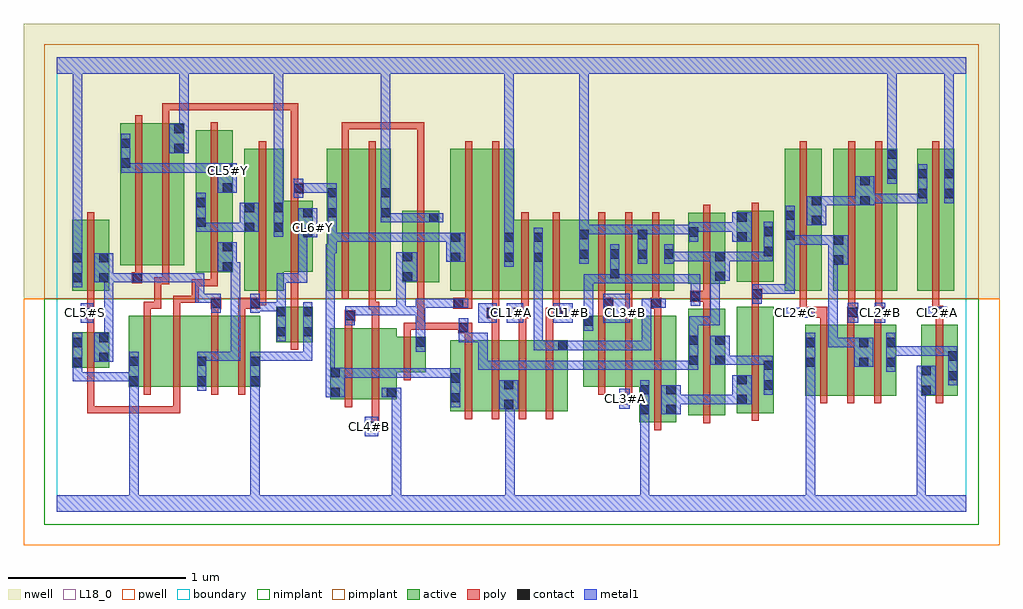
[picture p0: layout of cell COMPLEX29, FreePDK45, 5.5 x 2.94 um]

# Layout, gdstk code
import gdstk
lib = gdstk.Library(unit=1e-6, precision=1e-09)
def R(c, l, rs):  # rectangles x0, y0, x1, y1
    for r in rs: c.add(gdstk.rectangle(r[:2], r[2:], *l))
def A(c, l, x, y, w, h, nx, ny, dx, dy):  # array of equal rectangles
    R(c, l, [(x+i*dx, y+j*dy, x+i*dx+w, y+j*dy+h) for i in range(nx) for j in range(ny)])
active = (1, 0)
pwell = (2, 0)
nwell = (3, 0)
nimplant = (4, 0)
pimplant = (5, 0)
poly = (9, 0)
contact = (10, 0)
metal1 = (11, 0)
L18_0 = (18, 0)
boundary = (235, 0)

complex29 = lib.new_cell('COMPLEX29')
R(complex29, active, [(3.28,0.504,3.488,1.104), (3.428,0.504,3.488,1.104), (3.556,0.544,3.764,1.144), (3.28,0.546,3.34,0.948), (3.556,0.556,3.616,1.144), (3.704,0.556,3.764,1.144), (3.828,0.556,3.888,1.156), (3.828,0.556,4.036,1.156), (3.976,0.556,4.036,1.156), (2.214,0.566,2.394,0.966), (2.394,0.566,2.574,0.966), (2.514,0.566,2.698,0.966), (2.698,0.566,2.878,0.966), (2.514,0.574,2.574,0.856), (2.214,0.612,2.274,0.966), (1.538,0.634,1.598,1.034), (1.538,0.634,1.718,1.034), (1.718,0.634,1.914,1.034), (1.854,0.642,1.914,0.91), (4.214,0.654,4.394,1.054), (4.394,0.654,4.574,1.054), (4.514,0.654,4.726,1.054), (4.866,0.654,4.926,1.054), (4.866,0.654,5.074,1.054), (5.014,0.654,5.074,1.054), (0.404,0.704,0.584,1.104), (0.584,0.704,0.846,1.104), (0.786,0.704,0.966,1.104), (0.966,0.704,1.146,1.104), (2.964,0.704,3.144,1.104), (3.144,0.704,3.34,1.104), (0.404,0.706,0.464,1.104), (0.786,0.706,0.846,1.104), (1.086,0.706,1.146,1.104), (2.818,0.756,2.878,0.966), (2.964,0.756,3.024,1.104), (4.214,0.756,4.274,1.054), (4.514,0.756,4.574,1.05), (4.666,0.756,4.726,1.054), (1.854,0.786,2.078,0.986), (2.018,0.786,2.078,0.986), (0.086,0.812,0.146,1.012), (0.086,0.812,0.294,1.012), (0.234,0.812,0.294,1.012), (1.234,0.956,1.294,1.156), (1.234,0.956,1.442,1.156), (1.382,0.956,1.442,1.156), (0.086,1.244,0.146,1.644), (0.086,1.244,0.294,1.644), (0.234,1.244,0.294,1.644), (1.054,1.244,1.114,2.044), (1.054,1.244,1.278,2.044), (1.52,1.244,1.58,2.044), (1.52,1.244,1.7,2.044), (1.7,1.244,1.88,2.044), (2.216,1.244,2.276,2.044), (2.216,1.244,2.396,2.044), (2.396,1.244,2.576,2.044), (2.516,1.244,2.74,1.644), (2.68,1.244,2.998,1.644), (2.938,1.244,3.172,1.644), (3.112,1.244,3.328,1.644), (3.268,1.244,3.476,1.644), (3.416,1.244,3.476,1.644), (4.1,1.244,4.16,2.044), (4.1,1.244,4.308,2.044), (4.248,1.244,4.308,2.044), (4.372,1.244,4.432,2.044), (4.372,1.244,4.58,2.044), (4.52,1.244,4.58,2.044), (4.52,1.244,4.732,2.044), (4.672,1.244,4.732,2.044), (4.846,1.244,4.906,2.044), (4.846,1.244,5.054,2.044), (4.994,1.244,5.054,2.044), (3.112,1.27,3.172,1.644), (3.556,1.284,3.764,1.684), (3.556,1.284,3.616,1.674), (3.704,1.284,3.764,1.644), (1.944,1.294,2.152,1.694), (1.944,1.294,2.004,1.644), (2.092,1.294,2.152,1.694), (3.828,1.296,3.888,1.696), (3.828,1.296,4.036,1.696), (3.976,1.296,4.036,1.696), (0.782,1.35,0.99,2.15), (0.782,1.35,0.842,2.044), (0.93,1.35,0.99,2.15), (2.68,1.35,2.74,1.644), (2.938,1.35,2.998,1.644), (3.268,1.35,3.328,1.644), (1.218,1.352,1.442,1.752), (1.382,1.352,1.442,1.752), (0.358,1.388,0.418,2.188), (0.358,1.388,0.538,2.188), (0.538,1.388,0.718,2.188), (1.218,1.398,1.278,2.034), (2.516,1.404,2.576,1.694), (0.658,1.452,0.718,2.188), (1.82,1.452,1.88,2.044)])
R(complex29, pwell, [(-0.188,-0.188,5.308,1.2)])
R(complex29, nwell, [(-0.188,1.2,5.308,2.748)])
R(complex29, nimplant, [(-0.072,-0.072,5.192,1.2)])
R(complex29, pimplant, [(-0.072,1.2,5.192,2.632)])
A(complex29, poly, 2.298, 0.522, 0.04, 0.488, 4, 1, 0.152, 0)
A(complex29, poly, 4.298, 0.61, 0.04, 0.488, 3, 1, 0.152, 0)
A(complex29, poly, 2.45, 0.97, 0.04, 0.16, 3, 1, 0.152, 0)
A(complex29, poly, 4.298, 1.058, 0.04, 0.076, 3, 1, 0.152, 0)
A(complex29, poly, 3.048, 1.2, 0.04, 0.488, 3, 1, 0.152, 0)
A(complex29, poly, 0.76, 2.26, 0.146, 0.04, 3, 1, 0.106, 0)
R(complex29, poly, [(1.754,0.45,1.814,0.51), (3.364,0.46,3.404,1.148), (1.774,0.47,1.814,0.63), (3.64,0.5,3.68,1.188), (3.912,0.512,3.952,1.2), (0.17,0.554,0.21,0.594), (0.17,0.554,0.21,0.594), (0.17,0.554,0.21,0.594), (0.17,0.554,0.21,0.594), (0.17,0.554,0.21,0.594), (0.17,0.554,0.21,0.594), (0.17,0.554,0.21,0.594), (0.17,0.554,0.316,0.594), (0.17,0.554,0.21,0.808), (0.276,0.554,0.316,0.594), (0.276,0.554,0.316,0.594), (0.276,0.554,0.316,0.594), (0.276,0.554,0.694,0.594), (0.654,0.554,0.694,0.594), (0.654,0.554,0.694,0.594), (0.654,0.554,0.694,0.594), (0.654,0.554,0.694,0.7), (1.622,0.59,1.662,1.078), (1.774,0.59,1.814,1.078), (3.168,0.604,3.24,0.664), (4.95,0.61,4.99,1.098), (3.2,0.624,3.24,0.7), (0.488,0.66,0.528,1.148), (0.654,0.66,0.694,1.148), (0.87,0.66,0.91,1.148), (1.022,0.66,1.062,1.148), (3.048,0.66,3.088,1.148), (3.2,0.66,3.24,1.148), (1.954,0.742,1.994,1.03), (0.17,0.768,0.21,1.056), (1.318,0.912,1.358,1.2), (2.298,0.97,2.338,1.046), (1.954,0.99,1.994,1.066), (2.26,1.006,2.338,1.066), (0.17,1.016,0.21,1.13), (1.954,1.026,2.068,1.066), (2.028,1.026,2.068,1.066), (2.028,1.026,2.068,1.066), (2.028,1.026,2.068,1.066), (2.028,1.026,2.068,1.066), (2.028,1.026,2.3,1.066), (2.028,1.026,2.068,1.29), (2.26,1.026,2.3,1.066), (2.26,1.026,2.3,1.066), (1.622,1.038,1.662,1.114), (1.774,1.038,1.814,1.182), (4.95,1.058,4.99,1.14), (1.62,1.074,1.68,1.134), (0.15,1.09,0.21,1.15), (2.42,1.09,2.492,1.15), (2.45,1.09,2.49,1.13), (2.45,1.09,2.49,1.13), (2.57,1.09,2.656,1.15), (2.602,1.09,2.642,1.13), (2.602,1.09,2.642,1.13), (2.754,1.09,2.85,1.15), (4.184,1.094,4.338,1.154), (4.45,1.094,4.49,1.134), (4.45,1.094,4.49,1.134), (4.45,1.094,4.51,1.154), (4.602,1.094,4.662,1.154), (4.93,1.1,4.99,1.16), (0.488,1.108,0.528,1.184), (0.654,1.108,0.694,1.216), (0.87,1.108,0.91,1.184), (1.022,1.108,1.062,1.184), (3.048,1.108,3.088,1.184), (3.2,1.108,3.24,1.192), (3.364,1.108,3.404,1.184), (0.17,1.11,0.21,1.15), (0.17,1.11,0.21,1.15), (0.17,1.11,0.21,1.24), (2.452,1.11,2.492,1.24), (2.616,1.11,2.656,1.24), (2.792,1.11,2.832,1.15), (2.792,1.11,2.832,1.15), (2.792,1.11,2.832,1.24), (4.184,1.114,4.224,1.154), (4.184,1.114,4.224,1.154), (4.184,1.114,4.224,1.24), (4.456,1.114,4.496,1.24), (4.608,1.114,4.648,1.154), (4.608,1.114,4.648,1.154), (4.608,1.114,4.648,1.24), (4.93,1.12,4.97,1.24), (4.93,1.12,4.97,1.16), (4.93,1.12,4.97,1.16), (1.756,1.142,1.796,1.24), (1.756,1.142,1.798,1.182), (1.758,1.142,1.798,1.182), (1.758,1.142,1.814,1.182), (0.488,1.144,0.528,1.184), (0.488,1.144,0.588,1.184), (0.548,1.144,0.588,1.184), (0.548,1.144,0.588,1.322), (0.866,1.144,0.926,1.204), (1.022,1.144,1.146,1.204), (2.232,1.144,2.34,1.204), (3.048,1.144,3.134,1.204), (3.344,1.144,3.404,1.204), (3.64,1.148,3.68,1.224), (3.2,1.152,3.24,1.192), (3.2,1.152,3.24,1.192), (3.2,1.152,3.24,1.192), (3.2,1.152,3.24,1.24), (1.318,1.16,1.358,1.236), (3.912,1.16,3.952,1.236), (1.106,1.164,1.146,1.204), (1.106,1.164,1.178,1.204), (1.138,1.164,1.178,1.24), (2.3,1.164,2.34,1.24), (3.048,1.164,3.088,1.204), (3.048,1.164,3.088,1.204), (3.048,1.164,3.088,1.24), (3.352,1.164,3.392,1.204), (3.352,1.164,3.392,1.204), (3.352,1.164,3.392,1.24), (0.654,1.176,0.694,1.216), (0.654,1.176,0.8,1.216), (0.76,1.176,0.8,1.216), (0.76,1.176,0.8,1.216), (0.76,1.176,0.8,1.216), (0.76,1.176,0.8,1.31), (3.566,1.184,3.68,1.244), (3.64,1.184,3.68,1.224), (3.64,1.184,3.68,1.224), (1.318,1.196,1.358,1.236), (1.318,1.196,1.358,1.236), (1.318,1.196,1.358,1.236), (1.318,1.196,1.358,1.348), (3.912,1.196,3.952,1.236), (3.912,1.196,3.952,1.236), (3.912,1.196,3.972,1.256), (0.17,1.2,0.21,1.688), (1.138,1.2,1.178,2.088), (1.604,1.2,1.644,2.088), (1.756,1.2,1.796,2.088), (2.3,1.2,2.34,2.088), (2.452,1.2,2.492,2.088), (2.616,1.2,2.656,1.688), (2.792,1.2,2.832,1.688), (4.184,1.2,4.224,2.088), (4.456,1.2,4.496,2.088), (4.608,1.2,4.648,2.088), (4.93,1.2,4.97,2.088), (3.64,1.204,3.68,1.28), (3.912,1.216,3.952,1.292), (3.64,1.24,3.68,1.728), (2.028,1.25,2.068,1.738), (3.912,1.252,3.952,1.74), (0.76,1.27,0.8,1.31), (0.76,1.27,0.906,1.31), (0.866,1.27,0.906,1.31), (0.866,1.27,0.906,1.346), (0.548,1.282,0.588,1.322), (0.548,1.282,0.634,1.322), (0.594,1.282,0.634,1.322), (0.594,1.282,0.634,1.384), (0.422,1.288,0.482,1.348), (0.866,1.306,0.906,2.194), (0.442,1.308,0.482,1.384), (1.318,1.308,1.358,1.796), (0.442,1.344,0.482,2.232), (0.594,1.344,0.634,2.232), (2.028,1.698,2.068,2.194), (1.318,1.756,1.358,1.832), (1.318,1.792,1.39,1.852), (1.318,1.812,1.358,1.852), (1.318,1.812,1.358,1.852), (1.318,1.812,1.358,1.852), (1.318,1.812,1.358,1.852), (1.318,1.812,1.358,2.3), (1.604,2.048,1.644,2.194), (1.604,2.154,1.644,2.194), (1.604,2.154,1.644,2.194), (1.604,2.154,1.644,2.194), (1.604,2.154,1.786,2.194), (1.746,2.154,1.786,2.194), (1.746,2.154,1.786,2.194), (1.746,2.154,1.786,2.194), (1.746,2.154,1.962,2.194), (1.922,2.154,1.962,2.194), (1.922,2.154,1.962,2.194), (1.922,2.154,1.962,2.194), (1.922,2.154,1.962,2.194), (1.922,2.154,1.962,2.194), (1.922,2.154,1.962,2.194), (1.922,2.154,1.962,2.194), (1.922,2.154,1.962,2.194), (1.922,2.154,1.962,2.194), (1.922,2.154,2.068,2.194), (2.028,2.154,2.068,2.194), (0.594,2.192,0.634,2.3), (0.594,2.26,0.634,2.3), (0.594,2.26,0.8,2.3), (0.76,2.26,0.8,2.3), (0.76,2.26,0.8,2.3), (0.76,2.26,0.8,2.3), (0.866,2.26,0.906,2.3), (0.866,2.26,0.906,2.3), (0.866,2.26,0.906,2.3), (0.972,2.26,1.012,2.3), (0.972,2.26,1.012,2.3), (0.972,2.26,1.012,2.3), (1.078,2.26,1.118,2.3), (1.078,2.26,1.358,2.3), (1.318,2.26,1.358,2.3), (1.318,2.26,1.358,2.3), (1.318,2.26,1.358,2.3), (1.318,2.26,1.358,2.3), (1.318,2.26,1.358,2.3)])
R(complex29, contact, [(1.758,0.454,1.81,0.506), (3.284,0.55,3.336,0.602), (3.432,0.55,3.484,0.602), (2.518,0.578,2.57,0.63), (3.832,0.606,3.884,0.658), (3.172,0.608,3.224,0.66), (2.218,0.616,2.27,0.668), (1.542,0.646,1.594,0.698), (1.858,0.646,1.91,0.698), (4.87,0.658,4.922,0.71), (3.284,0.662,3.336,0.714), (3.432,0.662,3.484,0.714), (3.98,0.688,4.032,0.74), (2.518,0.69,2.57,0.742), (0.408,0.71,0.46,0.762), (0.79,0.71,0.842,0.762), (1.09,0.71,1.142,0.762), (3.832,0.718,3.884,0.77), (2.218,0.728,2.27,0.78), (5.018,0.74,5.07,0.792), (1.542,0.758,1.594,0.81), (4.87,0.77,4.922,0.822), (3.98,0.8,4.032,0.852), (0.09,0.816,0.142,0.868), (4.218,0.816,4.27,0.868), (4.518,0.816,4.57,0.868), (4.67,0.816,4.722,0.868), (0.408,0.822,0.46,0.874), (0.79,0.822,0.842,0.874), (1.09,0.822,1.142,0.874), (3.56,0.828,3.612,0.88), (3.708,0.828,3.76,0.88), (0.238,0.844,0.29,0.896), (5.018,0.852,5.07,0.904), (2.822,0.91,2.874,0.962), (0.09,0.928,0.142,0.98), (4.218,0.928,4.27,0.98), (4.518,0.928,4.57,0.98), (4.67,0.928,4.722,0.98), (2.022,0.93,2.074,0.982), (3.56,0.94,3.612,0.992), (3.708,0.94,3.76,0.992), (0.238,0.956,0.29,1.008), (1.238,0.988,1.29,1.04), (1.386,0.988,1.438,1.04), (2.264,1.01,2.316,1.062), (2.968,1.048,3.02,1.1), (1.624,1.078,1.676,1.13), (0.154,1.094,0.206,1.146), (2.424,1.094,2.476,1.146), (2.574,1.094,2.626,1.146), (2.794,1.094,2.846,1.146), (4.188,1.098,4.24,1.15), (4.454,1.098,4.506,1.15), (4.606,1.098,4.658,1.15), (1.238,1.1,1.29,1.152), (1.386,1.1,1.438,1.152), (4.934,1.104,4.986,1.156), (0.87,1.148,0.922,1.2), (1.09,1.148,1.142,1.2), (2.236,1.148,2.288,1.2), (3.078,1.148,3.13,1.2), (3.348,1.148,3.4,1.2), (3.57,1.188,3.622,1.24), (3.916,1.2,3.968,1.252), (0.09,1.292,0.142,1.344), (0.238,1.292,0.29,1.344), (0.426,1.292,0.478,1.344), (1.948,1.298,2,1.35), (3.708,1.3,3.76,1.352), (3.116,1.314,3.168,1.366), (0.934,1.354,0.986,1.406), (4.376,1.392,4.428,1.444), (0.09,1.404,0.142,1.456), (0.238,1.404,0.29,1.456), (2.22,1.408,2.272,1.46), (2.52,1.408,2.572,1.46), (2.684,1.408,2.736,1.46), (1.948,1.41,2,1.462), (3.708,1.412,3.76,1.464), (2.942,1.424,2.994,1.476), (3.272,1.424,3.324,1.476), (3.116,1.426,3.168,1.478), (3.42,1.426,3.472,1.478), (3.98,1.44,4.032,1.492), (0.934,1.466,0.986,1.518), (4.376,1.504,4.428,1.556), (2.22,1.52,2.272,1.572), (2.52,1.52,2.572,1.572), (2.684,1.52,2.736,1.572), (3.832,1.522,3.884,1.574), (4.104,1.532,4.156,1.584), (2.942,1.536,2.994,1.588), (3.272,1.536,3.324,1.588), (1.386,1.546,1.438,1.598), (3.56,1.55,3.612,1.602), (3.98,1.552,4.032,1.604), (1.058,1.576,1.11,1.628), (1.222,1.576,1.274,1.628), (0.786,1.604,0.838,1.656), (4.252,1.614,4.304,1.666), (2.096,1.63,2.148,1.682), (3.832,1.634,3.884,1.686), (4.104,1.644,4.156,1.696), (1.386,1.658,1.438,1.71), (1.524,1.658,1.576,1.71), (1.824,1.658,1.876,1.71), (1.058,1.688,1.11,1.74), (1.222,1.688,1.274,1.74), (0.786,1.716,0.838,1.768), (4.252,1.726,4.304,1.778), (4.524,1.726,4.576,1.778), (4.85,1.766,4.902,1.818), (4.998,1.766,5.05,1.818), (1.524,1.77,1.576,1.822), (1.824,1.77,1.876,1.822), (1.334,1.796,1.386,1.848), (0.934,1.798,0.986,1.85), (4.524,1.838,4.576,1.89), (4.676,1.876,4.728,1.928), (4.85,1.878,4.902,1.93), (4.998,1.878,5.05,1.93), (0.934,1.91,0.986,1.962), (0.362,1.938,0.414,1.99), (4.676,1.988,4.728,2.04), (0.662,2.02,0.714,2.072), (0.362,2.05,0.414,2.102), (0.662,2.132,0.714,2.184)])
A(complex29, metal1, 3.162, 1.286, 0.052, 0.052, 3, 1, 0.132, 0)
A(complex29, metal1, 2.942, 1.564, 0.052, 0.052, 3, 1, 0.11, 0)
A(complex29, metal1, 2.942, 1.564, 0.162, 0.052, 3, 1, 0.11, 0)
R(complex29, metal1, [(0,0,5.12,0.092), (0.408,0.04,0.46,0.092), (0.408,0.04,0.46,0.092), (0.408,0.04,0.46,0.092), (0.408,0.04,0.46,0.092), (0.408,0.04,0.46,0.092), (0.408,0.04,0.46,0.092), (0.408,0.04,0.46,0.092), (0.408,0.04,0.46,0.092), (0.408,0.04,0.46,0.092), (0.408,0.04,0.46,0.092), (0.408,0.04,0.46,0.734), (1.09,0.04,1.142,0.092), (1.09,0.04,1.142,0.092), (1.09,0.04,1.142,0.092), (1.09,0.04,1.142,0.092), (1.09,0.04,1.142,0.092), (1.09,0.04,1.142,0.092), (1.09,0.04,1.142,0.092), (1.09,0.04,1.142,0.092), (1.09,0.04,1.142,0.092), (1.09,0.04,1.142,0.092), (1.09,0.04,1.142,0.734), (1.886,0.04,1.938,0.092), (1.886,0.04,1.938,0.092), (1.886,0.04,1.938,0.698), (2.526,0.04,2.578,0.092), (2.526,0.04,2.578,0.092), (2.526,0.04,2.578,0.63), (3.284,0.04,3.336,0.092), (3.284,0.04,3.336,0.092), (3.284,0.04,3.336,0.092), (3.284,0.04,3.336,0.092), (3.284,0.04,3.336,0.092), (3.284,0.04,3.336,0.092), (3.284,0.04,3.336,0.092), (3.284,0.04,3.336,0.092), (3.284,0.04,3.336,0.574), (4.218,0.04,4.27,0.092), (4.218,0.04,4.27,0.092), (4.218,0.04,4.27,0.092), (4.218,0.04,4.27,0.092), (4.218,0.04,4.27,0.092), (4.218,0.04,4.27,0.092), (4.218,0.04,4.27,0.092), (4.218,0.04,4.27,0.092), (4.218,0.04,4.27,0.092), (4.218,0.04,4.27,0.092), (4.218,0.04,4.27,0.84), (4.842,0.04,4.894,0.092), (4.842,0.04,4.894,0.092), (4.842,0.04,4.894,0.092), (4.842,0.04,4.894,0.092), (4.842,0.04,4.894,0.092), (4.842,0.04,4.894,0.092), (4.842,0.04,4.894,0.092), (4.842,0.04,4.894,0.092), (4.842,0.04,4.894,0.092), (4.842,0.04,4.894,0.092), (4.842,0.04,4.894,0.092), (4.842,0.04,4.894,0.092), (4.842,0.04,4.894,0.71), (1.734,0.426,1.81,0.534), (3.284,0.522,3.336,0.742), (3.404,0.55,3.512,0.714), (2.49,0.578,2.598,0.742), (2.526,0.578,2.578,0.63), (2.526,0.578,2.578,0.63), (2.526,0.578,2.578,0.63), (2.526,0.578,2.578,0.63), (2.526,0.578,2.578,0.63), (2.526,0.578,2.578,0.63), (2.526,0.578,2.578,0.63), (2.526,0.578,2.578,0.63), (2.526,0.578,2.578,0.63), (2.526,0.578,2.578,0.63), (3.166,0.58,3.226,0.694), (2.218,0.588,2.27,0.808), (3.46,0.606,3.622,0.658), (3.57,0.606,3.622,0.658), (3.57,0.606,3.622,0.658), (3.57,0.606,3.622,0.658), (3.57,0.606,3.856,0.658), (3.804,0.606,3.856,0.658), (3.804,0.606,3.856,0.658), (3.804,0.606,3.912,0.77), (1.514,0.646,1.622,0.81), (1.83,0.646,1.938,0.698), (1.886,0.646,1.938,0.698), (1.886,0.646,1.938,0.698), (1.886,0.646,1.938,0.698), (1.886,0.646,1.938,0.698), (1.886,0.646,1.938,0.698), (1.886,0.646,1.938,0.698), (1.886,0.646,1.938,0.698), (1.886,0.646,1.938,0.698), (1.886,0.646,1.938,0.698), (1.886,0.646,1.938,0.698), (4.842,0.658,4.95,0.822), (3.98,0.66,4.032,0.88), (0.408,0.682,0.46,0.734), (0.408,0.682,0.46,0.734), (0.408,0.682,0.46,0.902), (0.79,0.682,0.842,0.902), (1.09,0.682,1.142,0.734), (1.09,0.682,1.142,0.734), (1.09,0.682,1.142,0.902), (5.018,0.712,5.07,0.932), (0.09,0.734,0.142,0.786), (0.09,0.734,0.142,0.786), (0.09,0.734,0.142,0.786), (0.09,0.734,0.142,0.786), (0.09,0.734,0.142,0.786), (0.09,0.734,0.278,0.786), (0.09,0.734,0.142,0.84), (0.226,0.734,0.278,0.786), (0.226,0.734,0.46,0.786), (1.57,0.756,1.622,0.808), (1.57,0.756,1.622,0.808), (1.57,0.756,1.732,0.808), (1.68,0.756,1.732,0.808), (1.68,0.756,1.732,0.808), (1.68,0.756,1.732,0.808), (1.68,0.756,1.842,0.808), (1.79,0.756,1.842,0.808), (1.79,0.756,1.842,0.808), (1.79,0.756,1.842,0.808), (1.79,0.756,1.964,0.808), (1.912,0.756,1.964,0.808), (1.912,0.756,2.074,0.808), (2.022,0.756,2.074,0.808), (2.022,0.756,2.074,0.808), (2.022,0.756,2.074,0.808), (2.022,0.756,2.27,0.808), (1.514,0.758,1.566,1.508), (0.09,0.788,0.142,1.008), (4.218,0.788,4.27,0.84), (4.218,0.788,4.27,0.84), (4.218,0.788,4.27,1.008), (4.67,0.788,4.722,1.008), (2.374,0.8,2.426,0.852), (2.374,0.8,2.426,0.852), (2.374,0.8,2.426,0.852), (2.374,0.8,2.426,0.852), (2.374,0.8,2.426,0.852), (2.374,0.8,2.546,0.852), (2.374,0.8,2.426,1.008), (2.494,0.8,2.546,0.852), (2.494,0.8,2.546,0.852), (2.494,0.8,2.546,0.852), (2.494,0.8,2.546,0.852), (2.494,0.8,2.546,0.852), (2.494,0.8,2.726,0.852), (2.674,0.8,2.726,0.852), (2.674,0.8,2.792,0.852), (2.74,0.8,2.792,0.852), (2.74,0.8,2.994,0.852), (2.942,0.8,2.994,0.852), (2.942,0.8,2.994,0.852), (2.942,0.8,2.994,0.852), (2.942,0.8,3.104,0.852), (3.052,0.8,3.104,0.852), (3.052,0.8,3.13,0.852), (3.078,0.8,3.13,0.852), (3.078,0.8,3.256,0.852), (3.204,0.8,3.256,0.852), (3.204,0.8,3.324,0.852), (3.272,0.8,3.324,0.852), (3.272,0.8,3.456,0.852), (3.404,0.8,3.456,0.852), (3.404,0.8,3.456,0.852), (3.404,0.8,3.456,0.852), (3.404,0.8,3.612,0.852), (3.56,0.8,3.612,1.02), (4.49,0.816,4.598,0.98), (3.68,0.828,3.788,0.992), (3.736,0.828,3.858,0.88), (3.806,0.828,3.858,0.88), (3.806,0.828,4.032,0.88), (3.98,0.828,4.032,0.88), (3.98,0.828,4.032,0.88), (0.21,0.844,0.318,1.008), (0.79,0.85,0.842,0.902), (0.79,0.85,0.842,0.902), (0.79,0.85,1.032,0.902), (0.98,0.85,1.032,0.902), (0.98,0.85,1.032,1.406), (1.09,0.85,1.274,0.902), (1.222,0.85,1.274,0.902), (1.222,0.85,1.274,0.902), (1.222,0.85,1.274,0.902), (1.222,0.85,1.438,0.902), (1.386,0.85,1.438,0.902), (1.386,0.85,1.438,1.012), (4.67,0.88,4.824,0.932), (4.772,0.88,4.824,0.932), (4.772,0.88,5.07,0.932), (5.018,0.88,5.07,0.932), (5.018,0.88,5.07,0.932), (2.022,0.902,2.074,1.01), (2.684,0.91,2.736,0.962), (2.684,0.91,2.736,0.962), (2.684,0.91,2.736,0.962), (2.684,0.91,2.846,0.962), (2.684,0.91,2.736,1.432), (2.794,0.91,2.902,0.962), (2.85,0.91,2.902,0.962), (2.85,0.91,2.902,0.962), (2.85,0.91,2.902,0.962), (2.85,0.91,2.902,0.962), (2.85,0.91,3.104,0.962), (3.052,0.91,3.104,0.962), (3.052,0.91,3.13,0.962), (3.078,0.91,3.13,0.962), (3.078,0.91,3.262,0.962), (3.21,0.91,3.262,0.962), (3.21,0.91,3.346,0.962), (3.294,0.91,3.346,0.962), (3.294,0.91,3.346,0.962), (3.294,0.91,3.346,0.962), (3.294,0.91,3.346,1.2), (4.344,0.928,4.396,0.98), (4.344,0.928,4.542,0.98), (4.344,0.928,4.396,1.444), (4.49,0.928,4.542,0.98), (4.49,0.928,4.542,0.98), (0.266,0.956,0.318,1.008), (0.266,0.956,0.318,1.008), (0.266,0.956,0.318,1.344), (2.264,0.956,2.426,1.008), (2.264,0.956,2.316,1.09), (2.374,0.956,2.426,1.008), (2.022,0.958,2.074,1.158), (1.238,0.96,1.29,1.18), (1.386,0.96,1.438,1.012), (1.386,0.96,1.438,1.012), (1.386,0.96,1.438,1.18), (3.56,0.968,3.612,1.02), (3.56,0.968,3.612,1.02), (3.56,0.968,3.612,1.102), (2.968,1.02,3.02,1.128), (1.624,1.05,1.676,1.158), (3.56,1.05,3.612,1.102), (3.56,1.05,3.646,1.102), (3.594,1.05,3.646,1.102), (3.594,1.05,3.732,1.102), (3.68,1.05,3.732,1.102), (3.68,1.05,3.732,1.102), (3.68,1.05,3.732,1.102), (3.68,1.05,3.732,1.102), (3.68,1.05,3.732,1.102), (3.68,1.05,3.732,1.352), (0.134,1.066,0.206,1.174), (2.374,1.066,2.476,1.174), (2.534,1.066,2.626,1.174), (2.794,1.066,2.906,1.174), (3.078,1.066,3.226,1.228), (4.454,1.066,4.514,1.178), (4.606,1.066,4.666,1.178), (2.968,1.076,3.02,1.128), (2.968,1.076,3.02,1.128), (2.968,1.076,3.02,1.128), (2.968,1.076,3.02,1.128), (2.968,1.076,3.02,1.338), (4.106,1.094,4.268,1.15), (4.906,1.094,5.014,1.156), (1.624,1.106,1.732,1.158), (1.68,1.106,1.732,1.158), (1.68,1.106,1.732,1.158), (1.68,1.106,1.732,1.158), (1.68,1.106,1.842,1.158), (1.79,1.106,1.842,1.158), (1.79,1.106,1.842,1.158), (1.79,1.106,1.842,1.158), (1.79,1.106,1.964,1.158), (1.912,1.106,1.964,1.158), (1.912,1.106,1.964,1.158), (1.912,1.106,1.964,1.158), (1.912,1.106,2.074,1.158), (1.912,1.106,1.964,1.35), (2.022,1.106,2.074,1.158), (2.022,1.106,2.074,1.158), (2.022,1.106,2.074,1.158), (2.022,1.106,2.074,1.2), (0.87,1.12,0.922,1.228), (1.09,1.12,1.142,1.228), (1.09,1.128,1.142,1.18), (1.09,1.128,1.142,1.18), (1.09,1.128,1.29,1.18), (1.238,1.128,1.29,1.18), (1.238,1.128,1.29,1.18), (1.238,1.128,1.29,1.342), (2.022,1.148,2.074,1.2), (2.022,1.148,2.26,1.2), (2.208,1.148,2.26,1.2), (2.208,1.148,2.26,1.2), (2.208,1.148,2.316,1.2), (3.294,1.148,3.346,1.2), (3.294,1.148,3.372,1.2), (3.32,1.148,3.428,1.2), (3.57,1.16,3.622,1.268), (3.916,1.172,3.968,1.28), (0.778,1.176,0.83,1.228), (0.778,1.176,0.922,1.228), (0.778,1.176,0.83,1.344), (3.57,1.216,3.622,1.268), (3.57,1.216,3.622,1.268), (3.57,1.216,3.622,1.338), (3.916,1.228,3.968,1.28), (3.916,1.228,3.968,1.28), (3.916,1.228,4.156,1.28), (4.104,1.228,4.156,1.28), (4.104,1.228,4.156,1.556), (0.09,1.264,0.142,1.484), (2.968,1.286,3.02,1.338), (2.968,1.286,3.104,1.338), (3.052,1.286,3.104,1.338), (3.052,1.286,3.168,1.338), (3.116,1.286,3.168,1.506), (3.116,1.286,3.214,1.338), (3.162,1.286,3.346,1.338), (3.294,1.286,3.478,1.338), (3.426,1.286,3.478,1.338), (3.426,1.286,3.478,1.338), (3.426,1.286,3.622,1.338), (3.57,1.286,3.622,1.338), (1.238,1.29,1.29,1.342), (1.238,1.29,1.29,1.342), (1.238,1.29,1.29,1.342), (1.238,1.29,1.29,1.342), (1.238,1.29,1.29,1.342), (1.238,1.29,1.41,1.342), (1.358,1.29,1.41,1.342), (1.358,1.29,1.41,1.342), (1.358,1.29,1.41,1.342), (1.358,1.29,1.41,1.598), (0.21,1.292,0.318,1.456), (0.266,1.292,0.318,1.344), (0.266,1.292,0.318,1.344), (0.266,1.292,0.318,1.344), (0.266,1.292,0.318,1.344), (0.266,1.292,0.45,1.344), (0.398,1.292,0.506,1.344), (0.454,1.292,0.576,1.344), (0.524,1.292,0.576,1.344), (0.524,1.292,0.72,1.344), (0.668,1.292,0.72,1.344), (0.668,1.292,0.72,1.344), (0.668,1.292,0.72,1.344), (0.668,1.292,0.83,1.344), (0.778,1.292,0.83,1.344), (1.912,1.298,2.028,1.462), (3.68,1.3,3.788,1.464), (0.906,1.354,1.014,1.518), (0.962,1.354,1.014,1.406), (0.962,1.354,1.032,1.406), (0.98,1.354,1.032,1.406), (0.98,1.354,1.032,1.406), (2.52,1.38,2.572,1.6), (2.684,1.38,2.736,1.432), (2.684,1.38,2.736,1.432), (2.684,1.38,2.736,1.432), (2.684,1.38,2.736,1.432), (2.684,1.38,2.736,1.6), (4.344,1.392,4.396,1.444), (4.344,1.392,4.396,1.444), (4.344,1.392,4.396,1.444), (4.344,1.392,4.396,1.444), (4.344,1.392,4.456,1.556), (2.942,1.396,2.994,1.616), (3.272,1.396,3.324,1.616), (3.42,1.398,3.472,1.506), (2.192,1.408,2.3,1.572), (3.42,1.412,3.622,1.464), (3.57,1.412,3.622,1.464), (3.57,1.412,3.732,1.464), (3.68,1.412,3.732,1.464), (3.68,1.412,3.732,1.464), (3.68,1.412,3.732,1.464), (3.68,1.412,3.732,1.464), (3.736,1.412,3.856,1.464), (3.804,1.412,3.856,1.464), (3.804,1.412,4.032,1.464), (3.98,1.412,4.032,1.464), (3.98,1.412,4.032,1.464), (3.98,1.412,4.032,1.632), (0.09,1.432,0.142,1.484), (0.09,1.432,0.142,1.484), (0.09,1.432,0.142,1.484), (0.09,1.432,0.142,1.484), (0.09,1.432,0.142,2.52), (1.514,1.456,1.566,1.508), (1.514,1.456,1.566,1.508), (1.514,1.456,1.566,1.508), (1.514,1.456,1.566,1.508), (1.514,1.456,1.576,1.508), (1.524,1.456,1.576,1.572), (4.104,1.504,4.156,1.556), (4.104,1.504,4.156,1.556), (4.104,1.504,4.156,1.724), (4.104,1.504,4.396,1.556), (4.344,1.504,4.396,1.556), (4.344,1.504,4.396,1.556), (1.524,1.52,1.576,1.572), (1.524,1.52,1.576,1.572), (1.524,1.52,1.576,1.572), (1.524,1.52,1.576,1.572), (1.524,1.52,1.576,1.572), (1.524,1.52,1.576,1.572), (1.524,1.52,1.576,1.572), (1.524,1.52,1.732,1.572), (1.524,1.52,1.576,1.682), (1.68,1.52,1.732,1.572), (1.68,1.52,1.786,1.572), (1.734,1.52,1.786,1.572), (1.734,1.52,1.96,1.572), (1.908,1.52,1.96,1.572), (1.908,1.52,1.96,1.572), (1.908,1.52,1.96,1.572), (1.908,1.52,2.108,1.572), (2.056,1.52,2.108,1.572), (2.056,1.52,2.108,1.572), (2.056,1.52,2.108,1.572), (2.056,1.52,2.244,1.572), (3.56,1.522,3.612,1.63), (3.804,1.522,3.912,1.686), (1.358,1.546,1.466,1.71), (1.222,1.548,1.274,1.768), (2.52,1.548,2.572,1.6), (2.52,1.548,2.572,1.6), (2.52,1.548,2.572,1.6), (2.52,1.548,2.572,1.6), (2.52,1.548,2.572,1.6), (2.52,1.548,2.572,1.6), (2.52,1.548,2.572,2.52), (2.942,1.564,2.994,1.616), (2.942,1.564,2.994,1.616), (2.942,1.564,2.994,1.616), (2.942,1.564,2.994,1.616), (2.942,1.564,2.994,1.616), (2.942,1.564,2.994,1.616), (2.942,1.564,2.994,1.616), (2.942,1.564,2.994,1.616), (2.942,1.564,2.994,1.616), (2.942,1.564,2.994,1.616), (2.942,1.564,2.994,1.616), (2.942,1.564,2.994,1.616), (2.942,1.564,2.994,1.616), (2.942,1.564,2.994,1.616), (2.942,1.564,2.994,1.616), (2.942,1.564,2.994,2.52), (3.162,1.564,3.214,1.616), (3.162,1.564,3.214,1.616), (3.272,1.564,3.456,1.616), (3.404,1.564,3.456,1.616), (3.404,1.564,3.456,1.616), (3.404,1.564,3.456,1.616), (3.404,1.564,3.612,1.616), (0.786,1.576,0.838,1.796), (0.786,1.576,0.952,1.628), (0.9,1.576,0.952,1.628), (0.9,1.576,0.952,1.628), (0.9,1.576,0.952,1.628), (0.9,1.576,1.082,1.628), (1.03,1.576,1.138,1.74), (3.56,1.578,3.746,1.63), (3.694,1.578,3.746,1.63), (3.694,1.578,3.856,1.63), (3.804,1.578,3.856,1.63), (3.804,1.578,3.856,1.63), (4.224,1.614,4.332,1.778), (1.524,1.63,1.576,1.85), (1.824,1.63,1.876,1.85), (1.824,1.63,1.952,1.682), (1.9,1.63,1.952,1.682), (1.9,1.63,1.952,1.682), (1.9,1.63,1.952,1.682), (1.9,1.63,1.952,1.682), (1.9,1.63,1.952,1.682), (1.9,1.63,1.952,1.682), (1.9,1.63,1.952,1.682), (1.9,1.63,1.952,1.682), (1.9,1.63,1.952,1.682), (1.9,1.63,2.12,1.682), (2.068,1.63,2.12,1.682), (2.068,1.63,2.12,1.682), (2.068,1.63,2.176,1.682), (1.222,1.716,1.274,2.52), (4.28,1.726,4.332,1.778), (4.28,1.726,4.332,1.778), (4.28,1.726,4.548,1.778), (4.496,1.726,4.548,1.778), (4.496,1.726,4.548,1.778), (4.496,1.726,4.604,1.89), (4.552,1.738,4.714,1.79), (4.662,1.738,4.714,1.79), (4.662,1.738,4.714,1.79), (4.662,1.738,4.714,1.79), (4.662,1.738,4.902,1.79), (4.85,1.738,4.902,1.958), (4.998,1.738,5.05,1.958), (1.334,1.768,1.386,1.876), (0.906,1.798,1.014,1.962), (1.334,1.798,1.4,1.85), (1.348,1.798,1.4,1.85), (1.348,1.798,1.576,1.85), (1.824,1.798,1.876,2.52), (4.676,1.848,4.728,2.068), (4.998,1.906,5.05,2.52), (4.998,1.906,5.05,1.958), (4.998,1.906,5.05,1.958), (4.998,1.906,5.05,1.958), (4.998,1.906,5.05,1.958), (4.998,1.906,5.05,1.958), (4.998,1.906,5.05,1.958), (0.362,1.91,0.414,2.13), (0.362,1.91,0.576,1.962), (0.524,1.91,0.576,1.962), (0.524,1.91,0.576,1.962), (0.524,1.91,0.576,1.962), (0.524,1.91,0.686,1.962), (0.634,1.91,0.686,1.962), (0.634,1.91,0.686,1.962), (0.634,1.91,0.686,1.962), (0.634,1.91,0.842,1.962), (0.79,1.91,0.842,1.962), (0.79,1.91,0.958,1.962), (0.906,1.91,0.958,1.962), (0.906,1.91,0.958,1.962), (4.676,2.016,4.728,2.068), (4.676,2.016,4.728,2.068), (4.676,2.016,4.728,2.52), (0.634,2.02,0.742,2.184), (0.69,2.132,0.742,2.184), (0.69,2.132,0.742,2.184), (0.69,2.132,0.742,2.52), (0,2.468,5.12,2.56), (0.09,2.468,0.142,2.52), (0.09,2.468,0.142,2.52), (0.09,2.468,0.142,2.52), (0.09,2.468,0.142,2.52), (0.09,2.468,0.142,2.52), (0.09,2.468,0.142,2.52), (0.09,2.468,0.142,2.52), (0.09,2.468,0.142,2.52), (0.09,2.468,0.142,2.52), (0.09,2.468,0.142,2.52), (0.09,2.468,0.142,2.52), (0.09,2.468,0.142,2.52), (0.69,2.468,0.742,2.52), (0.69,2.468,0.742,2.52), (0.69,2.468,0.742,2.52), (0.69,2.468,0.742,2.52), (0.69,2.468,0.742,2.52), (0.69,2.468,0.742,2.52), (1.222,2.468,1.274,2.52), (1.222,2.468,1.274,2.52), (1.222,2.468,1.274,2.52), (1.222,2.468,1.274,2.52), (1.222,2.468,1.274,2.52), (1.222,2.468,1.274,2.52), (1.222,2.468,1.274,2.52), (1.222,2.468,1.274,2.52), (1.824,2.468,1.876,2.52), (1.824,2.468,1.876,2.52), (1.824,2.468,1.876,2.52), (1.824,2.468,1.876,2.52), (1.824,2.468,1.876,2.52), (1.824,2.468,1.876,2.52), (1.824,2.468,1.876,2.52), (1.824,2.468,1.876,2.52), (2.52,2.468,2.572,2.52), (2.52,2.468,2.572,2.52), (2.942,2.468,2.994,2.52), (2.942,2.468,2.994,2.52), (4.676,2.468,4.728,2.52), (4.676,2.468,4.728,2.52), (4.676,2.468,4.728,2.52), (4.676,2.468,4.728,2.52), (4.676,2.468,4.728,2.52), (4.676,2.468,4.728,2.52), (4.998,2.468,5.05,2.52), (4.998,2.468,5.05,2.52)])
A(complex29, L18_0, 2.534, 1.094, 0.052, 0.052, 3, 1, 0.32, 0)
A(complex29, L18_0, 2.942, 1.564, 0.052, 0.052, 3, 1, 0.11, 0)
A(complex29, L18_0, 2.942, 1.564, 0.162, 0.052, 3, 1, 0.11, 0)
R(complex29, L18_0, [(0,0,5.12,0.092), (0.408,0.04,0.46,0.092), (0.408,0.04,0.46,0.092), (0.408,0.04,0.46,0.092), (0.408,0.04,0.46,0.092), (0.408,0.04,0.46,0.092), (0.408,0.04,0.46,0.092), (0.408,0.04,0.46,0.092), (0.408,0.04,0.46,0.092), (0.408,0.04,0.46,0.092), (0.408,0.04,0.46,0.092), (0.408,0.04,0.46,0.734), (1.09,0.04,1.142,0.092), (1.09,0.04,1.142,0.092), (1.09,0.04,1.142,0.092), (1.09,0.04,1.142,0.092), (1.09,0.04,1.142,0.092), (1.09,0.04,1.142,0.092), (1.09,0.04,1.142,0.092), (1.09,0.04,1.142,0.092), (1.09,0.04,1.142,0.092), (1.09,0.04,1.142,0.092), (1.09,0.04,1.142,0.734), (1.886,0.04,1.938,0.092), (1.886,0.04,1.938,0.092), (1.886,0.04,1.938,0.698), (2.526,0.04,2.578,0.092), (2.526,0.04,2.578,0.092), (2.526,0.04,2.578,0.63), (3.284,0.04,3.336,0.092), (3.284,0.04,3.336,0.092), (3.284,0.04,3.336,0.092), (3.284,0.04,3.336,0.092), (3.284,0.04,3.336,0.092), (3.284,0.04,3.336,0.092), (3.284,0.04,3.336,0.092), (3.284,0.04,3.336,0.092), (3.284,0.04,3.336,0.574), (4.218,0.04,4.27,0.092), (4.218,0.04,4.27,0.092), (4.218,0.04,4.27,0.092), (4.218,0.04,4.27,0.092), (4.218,0.04,4.27,0.092), (4.218,0.04,4.27,0.092), (4.218,0.04,4.27,0.092), (4.218,0.04,4.27,0.092), (4.218,0.04,4.27,0.092), (4.218,0.04,4.27,0.092), (4.218,0.04,4.27,0.84), (4.842,0.04,4.894,0.092), (4.842,0.04,4.894,0.092), (4.842,0.04,4.894,0.092), (4.842,0.04,4.894,0.092), (4.842,0.04,4.894,0.092), (4.842,0.04,4.894,0.092), (4.842,0.04,4.894,0.092), (4.842,0.04,4.894,0.092), (4.842,0.04,4.894,0.092), (4.842,0.04,4.894,0.092), (4.842,0.04,4.894,0.092), (4.842,0.04,4.894,0.092), (4.842,0.04,4.894,0.71), (1.734,0.426,1.81,0.534), (1.734,0.454,1.786,0.506), (3.284,0.522,3.336,0.742), (2.49,0.578,2.598,0.742), (2.526,0.578,2.578,0.63), (2.526,0.578,2.578,0.63), (2.526,0.578,2.578,0.63), (2.526,0.578,2.578,0.63), (2.526,0.578,2.578,0.63), (2.526,0.578,2.578,0.63), (2.526,0.578,2.578,0.63), (2.526,0.578,2.578,0.63), (2.526,0.578,2.578,0.63), (2.526,0.578,2.578,0.63), (3.166,0.58,3.226,0.694), (3.174,0.614,3.226,0.666), (1.83,0.646,1.938,0.698), (1.886,0.646,1.938,0.698), (1.886,0.646,1.938,0.698), (1.886,0.646,1.938,0.698), (1.886,0.646,1.938,0.698), (1.886,0.646,1.938,0.698), (1.886,0.646,1.938,0.698), (1.886,0.646,1.938,0.698), (1.886,0.646,1.938,0.698), (1.886,0.646,1.938,0.698), (1.886,0.646,1.938,0.698), (4.842,0.658,4.95,0.822), (0.408,0.682,0.46,0.734), (0.408,0.682,0.46,0.734), (0.408,0.682,0.46,0.902), (0.79,0.682,0.842,0.902), (1.09,0.682,1.142,0.734), (1.09,0.682,1.142,0.734), (1.09,0.682,1.142,0.902), (0.09,0.734,0.142,0.786), (0.09,0.734,0.142,0.786), (0.09,0.734,0.142,0.786), (0.09,0.734,0.142,0.786), (0.09,0.734,0.142,0.786), (0.09,0.734,0.142,0.84), (0.09,0.734,0.278,0.786), (0.226,0.734,0.278,0.786), (0.226,0.734,0.46,0.786), (0.09,0.788,0.142,1.008), (4.218,0.788,4.27,0.84), (4.218,0.788,4.27,0.84), (4.218,0.788,4.27,1.008), (0.79,0.85,0.842,0.902), (0.79,0.85,0.842,0.902), (0.79,0.85,1.032,0.902), (0.98,0.85,1.032,0.902), (0.98,0.85,1.032,1.406), (1.09,0.85,1.274,0.902), (1.222,0.85,1.274,0.902), (1.222,0.85,1.274,0.902), (1.222,0.85,1.274,0.902), (1.222,0.85,1.438,0.902), (1.386,0.85,1.438,0.902), (1.386,0.85,1.438,1.012), (1.238,0.96,1.29,1.18), (1.386,0.96,1.438,1.012), (1.386,0.96,1.438,1.012), (1.386,0.96,1.438,1.18), (0.134,1.066,0.206,1.174), (2.374,1.066,2.476,1.174), (2.534,1.066,2.626,1.174), (2.794,1.066,2.906,1.174), (3.078,1.066,3.226,1.228), (4.454,1.066,4.514,1.178), (4.606,1.066,4.666,1.178), (0.134,1.094,0.186,1.146), (2.374,1.094,2.426,1.146), (4.106,1.094,4.268,1.15), (4.134,1.094,4.186,1.146), (4.454,1.094,4.506,1.146), (4.614,1.094,4.666,1.146), (4.906,1.094,5.014,1.156), (4.934,1.094,4.986,1.146), (1.09,1.12,1.142,1.228), (1.09,1.128,1.142,1.18), (1.09,1.128,1.142,1.18), (1.09,1.128,1.29,1.18), (1.238,1.128,1.29,1.18), (1.238,1.128,1.29,1.18), (1.238,1.128,1.29,1.342), (0.09,1.264,0.142,1.484), (1.238,1.29,1.29,1.342), (1.238,1.29,1.29,1.342), (1.238,1.29,1.29,1.342), (1.238,1.29,1.29,1.342), (1.238,1.29,1.29,1.342), (1.238,1.29,1.41,1.342), (1.358,1.29,1.41,1.342), (1.358,1.29,1.41,1.342), (1.358,1.29,1.41,1.342), (1.358,1.29,1.41,1.598), (0.906,1.354,1.014,1.518), (0.962,1.354,1.014,1.406), (0.962,1.354,1.032,1.406), (0.98,1.354,1.032,1.406), (0.98,1.354,1.032,1.406), (2.52,1.38,2.572,1.6), (2.942,1.396,2.994,1.616), (3.272,1.396,3.324,1.616), (0.09,1.432,0.142,1.484), (0.09,1.432,0.142,1.484), (0.09,1.432,0.142,1.484), (0.09,1.432,0.142,1.484), (0.09,1.432,0.142,2.52), (3.56,1.522,3.612,1.63), (3.804,1.522,3.912,1.686), (1.358,1.546,1.466,1.71), (1.222,1.548,1.274,1.768), (2.52,1.548,2.572,1.6), (2.52,1.548,2.572,1.6), (2.52,1.548,2.572,1.6), (2.52,1.548,2.572,1.6), (2.52,1.548,2.572,1.6), (2.52,1.548,2.572,1.6), (2.52,1.548,2.572,2.52), (2.942,1.564,2.994,1.616), (2.942,1.564,2.994,1.616), (2.942,1.564,2.994,1.616), (2.942,1.564,2.994,1.616), (2.942,1.564,2.994,1.616), (2.942,1.564,2.994,1.616), (2.942,1.564,2.994,1.616), (2.942,1.564,2.994,1.616), (2.942,1.564,2.994,1.616), (2.942,1.564,2.994,1.616), (2.942,1.564,2.994,1.616), (2.942,1.564,2.994,1.616), (2.942,1.564,2.994,1.616), (2.942,1.564,2.994,1.616), (2.942,1.564,2.994,1.616), (2.942,1.564,2.994,2.52), (3.162,1.564,3.214,1.616), (3.162,1.564,3.214,1.616), (3.272,1.564,3.456,1.616), (3.404,1.564,3.456,1.616), (3.404,1.564,3.456,1.616), (3.404,1.564,3.456,1.616), (3.404,1.564,3.612,1.616), (1.414,1.574,1.466,1.626), (3.56,1.578,3.746,1.63), (3.694,1.578,3.746,1.63), (3.694,1.578,3.856,1.63), (3.804,1.578,3.856,1.63), (3.804,1.578,3.856,1.63), (1.824,1.63,1.876,1.85), (1.824,1.63,1.952,1.682), (1.9,1.63,1.952,1.682), (1.9,1.63,1.952,1.682), (1.9,1.63,1.952,1.682), (1.9,1.63,1.952,1.682), (1.9,1.63,1.952,1.682), (1.9,1.63,1.952,1.682), (1.9,1.63,1.952,1.682), (1.9,1.63,1.952,1.682), (1.9,1.63,1.952,1.682), (1.9,1.63,2.12,1.682), (2.068,1.63,2.12,1.682), (2.068,1.63,2.12,1.682), (2.068,1.63,2.176,1.682), (1.222,1.716,1.274,2.52), (4.998,1.738,5.05,1.958), (0.906,1.798,1.014,1.962), (1.824,1.798,1.876,2.52), (4.676,1.848,4.728,2.068), (0.934,1.894,0.986,1.946), (4.998,1.906,5.05,1.958), (4.998,1.906,5.05,1.958), (4.998,1.906,5.05,1.958), (4.998,1.906,5.05,1.958), (4.998,1.906,5.05,1.958), (4.998,1.906,5.05,1.958), (4.998,1.906,5.05,2.52), (0.362,1.91,0.414,2.13), (0.362,1.91,0.576,1.962), (0.524,1.91,0.576,1.962), (0.524,1.91,0.576,1.962), (0.524,1.91,0.576,1.962), (0.524,1.91,0.686,1.962), (0.634,1.91,0.686,1.962), (0.634,1.91,0.686,1.962), (0.634,1.91,0.686,1.962), (0.634,1.91,0.842,1.962), (0.79,1.91,0.842,1.962), (0.79,1.91,0.958,1.962), (0.906,1.91,0.958,1.962), (0.906,1.91,0.958,1.962), (4.676,2.016,4.728,2.068), (4.676,2.016,4.728,2.068), (4.676,2.016,4.728,2.52), (0.634,2.02,0.742,2.184), (0.69,2.132,0.742,2.184), (0.69,2.132,0.742,2.184), (0.69,2.132,0.742,2.52), (0,2.468,5.12,2.56), (0.09,2.468,0.142,2.52), (0.09,2.468,0.142,2.52), (0.09,2.468,0.142,2.52), (0.09,2.468,0.142,2.52), (0.09,2.468,0.142,2.52), (0.09,2.468,0.142,2.52), (0.09,2.468,0.142,2.52), (0.09,2.468,0.142,2.52), (0.09,2.468,0.142,2.52), (0.09,2.468,0.142,2.52), (0.09,2.468,0.142,2.52), (0.09,2.468,0.142,2.52), (0.69,2.468,0.742,2.52), (0.69,2.468,0.742,2.52), (0.69,2.468,0.742,2.52), (0.69,2.468,0.742,2.52), (0.69,2.468,0.742,2.52), (0.69,2.468,0.742,2.52), (1.222,2.468,1.274,2.52), (1.222,2.468,1.274,2.52), (1.222,2.468,1.274,2.52), (1.222,2.468,1.274,2.52), (1.222,2.468,1.274,2.52), (1.222,2.468,1.274,2.52), (1.222,2.468,1.274,2.52), (1.222,2.468,1.274,2.52), (1.824,2.468,1.876,2.52), (1.824,2.468,1.876,2.52), (1.824,2.468,1.876,2.52), (1.824,2.468,1.876,2.52), (1.824,2.468,1.876,2.52), (1.824,2.468,1.876,2.52), (1.824,2.468,1.876,2.52), (1.824,2.468,1.876,2.52), (2.52,2.468,2.572,2.52), (2.52,2.468,2.572,2.52), (2.942,2.468,2.994,2.52), (2.942,2.468,2.994,2.52), (4.676,2.468,4.728,2.52), (4.676,2.468,4.728,2.52), (4.676,2.468,4.728,2.52), (4.676,2.468,4.728,2.52), (4.676,2.468,4.728,2.52), (4.676,2.468,4.728,2.52), (4.998,2.468,5.05,2.52), (4.998,2.468,5.05,2.52)])
R(complex29, boundary, [(0,0,5.12,2.56)])
complex29.add(gdstk.Label('CL1#A', (2.56,1.12), layer=11, texttype=0))
complex29.add(gdstk.Label('CL1#B', (2.88,1.12), layer=11, texttype=0))
complex29.add(gdstk.Label('CL2#A', (4.96,1.12), layer=11, texttype=0))
complex29.add(gdstk.Label('CL2#B', (4.64,1.12), layer=11, texttype=0))
complex29.add(gdstk.Label('CL2#C', (4.16,1.12), layer=11, texttype=0))
complex29.add(gdstk.Label('CL2#D', (4.48,1.12), layer=11, texttype=0))
complex29.add(gdstk.Label('CL3#A', (3.2,0.64), layer=11, texttype=0))
complex29.add(gdstk.Label('CL3#B', (3.2,1.12), layer=11, texttype=0))
complex29.add(gdstk.Label('CL4#A', (2.4,1.12), layer=11, texttype=0))
complex29.add(gdstk.Label('CL4#B', (1.76,0.48), layer=11, texttype=0))
complex29.add(gdstk.Label('CL5#S', (0.16,1.12), layer=11, texttype=0))
complex29.add(gdstk.Label('CL5#Y', (0.96,1.92), layer=11, texttype=0))
complex29.add(gdstk.Label('CL6#Y', (1.44,1.6), layer=11, texttype=0))

lib.write_gds('COMPLEX29.gds')
